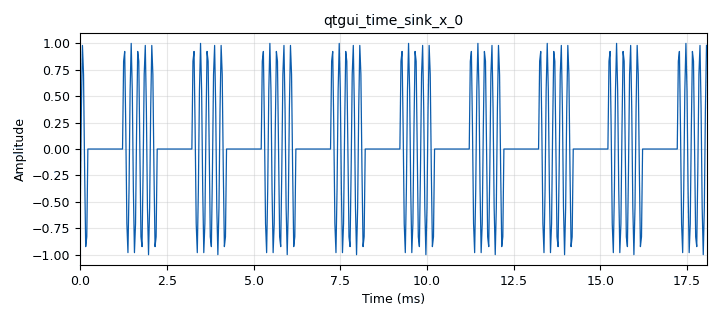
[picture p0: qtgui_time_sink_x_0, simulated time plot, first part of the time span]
options:
  parameters:
    generate_options: qt_gui
    id: OOK
    output_language: python
    title: Not titled yet
  states: {}

blocks:
- name: Rb
  id: variable
  parameters:
    value: '1000'
  states: {}
- name: samp_rate
  id: variable
  parameters:
    value: '32000'
  states: {}
- name: analog_sig_source_x_0_0
  id: analog_sig_source_x
  parameters:
    amp: '1'
    freq: Rb/2
    offset: '0'
    phase: '0'
    samp_rate: samp_rate
    type: float
    waveform: analog.GR_SQR_WAVE
  states: {}
- name: analog_sig_source_x_1
  id: analog_sig_source_x
  parameters:
    amp: '1'
    freq: '5000'
    offset: '0'
    phase: '0'
    samp_rate: samp_rate
    type: float
    waveform: analog.GR_SIN_WAVE
  states: {}
- name: blocks_multiply_xx_0
  id: blocks_multiply_xx
  parameters:
    type: float
  states: {}
- name: qtgui_time_sink_x_0
  id: qtgui_time_sink_x
  parameters:
    autoscale: 'True'
    size: '1024'
    srate: samp_rate
    tr_mode: qtgui.TRIG_MODE_NORM
    type: float
  states: {}

connections:
- [analog_sig_source_x_0_0, '0', blocks_multiply_xx_0, '0']
- [analog_sig_source_x_1, '0', blocks_multiply_xx_0, '1']
- [blocks_multiply_xx_0, '0', qtgui_time_sink_x_0, '0']

metadata:
  file_format: 1
  grc_version: 3.10.12.0
